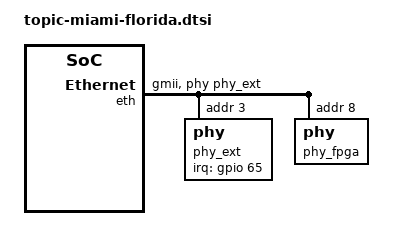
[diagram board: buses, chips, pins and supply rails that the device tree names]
/include/ "topic-miami.dtsi"
/include/ "topic-miami-florida-mio.dtsi"

/* Common components for ALL florida boards */

/* Ethernet PHY via EMIO. Logic contains a MII to RGMII conversion, so
the emac should see a MII interface */
&eth {
	status = "okay";
	phy-mode = "gmii";
	phy-handle = <&phy_ext>;
	gmii2rgmii-phy-handle = <&phy_fpga>;
	phy_ext: phy@3 {
		/* PHY on the board */
		reg = <0x3>;
		interrupt-parent = <&gpio>;
		interrupts = <65 0x8>; /* GPIO 65 (EMIO 11), IRQ_TYPE_LEVEL_LOW */
	};
	phy_fpga: phy@8 {
		/* Internal GMII to RGMII adapter PHY */
		reg = <0x8>;
	};
};
